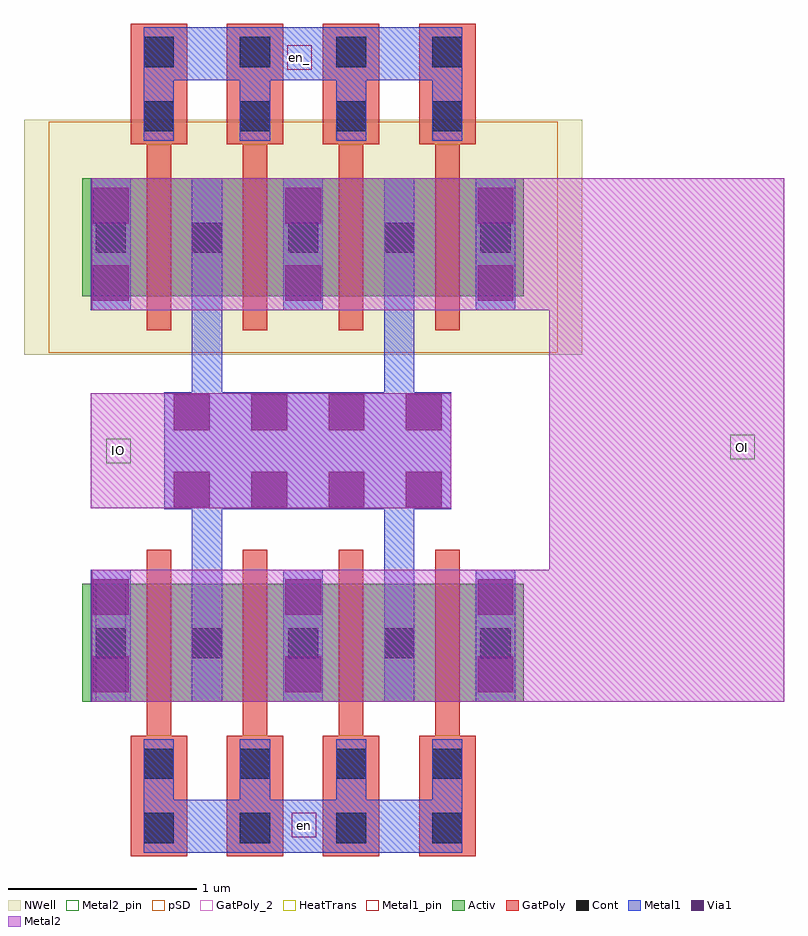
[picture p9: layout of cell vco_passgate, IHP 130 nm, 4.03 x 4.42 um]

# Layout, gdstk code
import gdstk
lib = gdstk.Library(unit=1e-6, precision=1e-09)
def R(c, l, rs):  # rectangles x0, y0, x1, y1
    for r in rs: c.add(gdstk.rectangle(r[:2], r[2:], *l))
def A(c, l, x, y, w, h, nx, ny, dx, dy):  # array of equal rectangles
    R(c, l, [(x+i*dx, y+j*dy, x+i*dx+w, y+j*dy+h) for i in range(nx) for j in range(ny)])
Activ = (1, 0)
GatPoly = (5, 0)
GatPoly_2 = (5, 2)
Cont = (6, 0)
Metal1 = (8, 0)
Metal1_pin = (8, 2)
Metal2 = (10, 0)
Metal2_pin = (10, 2)
pSD = (14, 0)
Via1 = (19, 0)
NWell = (31, 0)
HeatTrans = (51, 0)

pmos_12 = lib.new_cell('pmos$12')
A(pmos_12, Activ, 0, 0, 0.3, 0.3, 5, 1, 0.51, 0)
R(pmos_12, Activ, [(0,0,2.34,0.625)])
A(pmos_12, GatPoly, 0.34, -0.18, 0.13, 0.985, 4, 1, 0.51, 0)
R(pmos_12, GatPoly, [(0.34,-0.18,0.47,0.805)])
A(pmos_12, Cont, 0.07, 0.23, 0.16, 0.16, 5, 1, 0.51, 0)
A(pmos_12, Metal1, 0.58, 0, 0.16, 0.625, 4, 1, 0.51, 0)
R(pmos_12, Metal1, [(0.07,0,0.23,0.625), (0.07,0,0.23,0.625), (0.58,0,0.74,0.625)])
R(pmos_12, pSD, [(-0.18,-0.3,2.52,0.925)])
R(pmos_12, NWell, [(-0.31,-0.31,2.65,0.935)])
A(pmos_12, HeatTrans, 0.34, -0.18, 0.13, 0.985, 4, 1, 0.51, 0)
pmos_12.add(gdstk.Label('pmos', (0.405,0.313), layer=63, texttype=0))
pmos_12.add(gdstk.Label('pmos', (0.405,0.313), layer=51, texttype=0))
pmos_12.add(gdstk.Label('pmos', (0.915,0.313), layer=51, texttype=0))
pmos_12.add(gdstk.Label('pmos', (1.425,0.313), layer=51, texttype=0))
pmos_12.add(gdstk.Label('pmos', (1.935,0.313), layer=51, texttype=0))

nmos_15 = lib.new_cell('nmos$15')
A(nmos_15, Activ, 0, 0, 0.3, 0.3, 5, 1, 0.51, 0)
R(nmos_15, Activ, [(0,0,2.34,0.625)])
A(nmos_15, GatPoly, 0.34, -0.18, 0.13, 0.985, 4, 1, 0.51, 0)
R(nmos_15, GatPoly_2, [(0.34,-0.18,0.47,0.805)])
A(nmos_15, Cont, 0.07, 0.23, 0.16, 0.16, 5, 1, 0.51, 0)
A(nmos_15, Metal1, 0.07, 0, 0.16, 0.625, 5, 1, 0.51, 0)
R(nmos_15, Metal1_pin, [(0.07,0,0.23,0.625), (0.58,0,0.74,0.625)])
A(nmos_15, HeatTrans, 0.34, -0.18, 0.13, 0.985, 4, 1, 0.51, 0)
nmos_15.add(gdstk.Label('nmos', (0.405,0.313), layer=63, texttype=0))
nmos_15.add(gdstk.Label('nmos', (0.405,0.313), layer=51, texttype=0))
nmos_15.add(gdstk.Label('nmos', (0.915,0.313), layer=51, texttype=0))
nmos_15.add(gdstk.Label('nmos', (1.425,0.313), layer=51, texttype=0))
nmos_15.add(gdstk.Label('nmos', (1.935,0.313), layer=51, texttype=0))

via_30 = lib.new_cell('Via$30')
R(via_30, GatPoly, [(-0.15,-0.32,0.15,0.32)])
R(via_30, Cont, [(-0.08,-0.25,0.08,-0.09), (-0.08,0.09,0.08,0.25)])
R(via_30, Metal1, [(-0.08,-0.3,0.08,0.3)])

via_1 = lib.new_cell('Via$1')
R(via_1, Metal1, [(-0.76,-0.31,0.76,0.31)])
R(via_1, Metal2, [(-0.76,-0.305,0.76,0.305)])
A(via_1, Via1, -0.71, -0.3, 0.19, 0.19, 4, 2, 0.41, 0.41)

via_3_2 = lib.new_cell('Via$3$2')
R(via_3_2, Metal1, [(-0.105,-0.35,0.105,0.35)])
R(via_3_2, Metal2, [(-0.1,-0.35,0.1,0.35)])
R(via_3_2, Via1, [(-0.095,-0.3,0.095,-0.11), (-0.095,0.11,0.095,0.3)])

vco_passgate = lib.new_cell('vco_passgate')
R(vco_passgate, Metal1, [(-0.295,-2.165,1.395,-1.885), (0.98,-1.065,1.14,0.93), (-0.04,-0.945,0.12,0.87), (-0.295,1.93,1.395,2.21)])
R(vco_passgate, Metal1_pin, [(0.49,-2.085,0.62,-1.955), (0.465,1.985,0.595,2.115)])
R(vco_passgate, Metal2, [(-0.57,-1.365,2.67,-0.665), (1.855,-1.365,3.1,1.41), (-0.575,-0.34,1.335,0.27), (-0.57,0.71,2.675,1.41)])
R(vco_passgate, Metal2_pin, [(-0.495,-0.1,-0.365,0.03), (2.815,-0.08,2.945,0.05)])
vco_passgate.add(gdstk.Reference(pmos_12, (-0.62,0.785)))
vco_passgate.add(gdstk.Reference(nmos_15, (-0.62,-1.365)))
vco_passgate.add(gdstk.Reference(via_30, (-0.215,1.91)))
vco_passgate.add(gdstk.Reference(via_30, (0.295,1.91)))
vco_passgate.add(gdstk.Reference(via_30, (0.805,1.91)))
vco_passgate.add(gdstk.Reference(via_30, (1.315,1.91)))
vco_passgate.add(gdstk.Reference(via_30, (-0.215,-1.865)))
vco_passgate.add(gdstk.Reference(via_30, (0.295,-1.865)))
vco_passgate.add(gdstk.Reference(via_30, (0.805,-1.865)))
vco_passgate.add(gdstk.Reference(via_30, (1.315,-1.865)))
vco_passgate.add(gdstk.Reference(via_1, (0.575,-0.035)))
vco_passgate.add(gdstk.Reference(via_3_2, (-0.47,1.06)))
vco_passgate.add(gdstk.Reference(via_3_2, (0.55,1.06)))
vco_passgate.add(gdstk.Reference(via_3_2, (1.57,1.06)))
vco_passgate.add(gdstk.Reference(via_3_2, (-0.47,-1.015)))
vco_passgate.add(gdstk.Reference(via_3_2, (0.55,-1.015)))
vco_passgate.add(gdstk.Reference(via_3_2, (1.57,-1.015)))
vco_passgate.add(gdstk.Label('IO', (-0.43,-0.035), layer=10, texttype=25))
vco_passgate.add(gdstk.Label('OI', (2.88,-0.015), layer=10, texttype=25))
vco_passgate.add(gdstk.Label('en', (0.555,-2.02), layer=8, texttype=25))
vco_passgate.add(gdstk.Label('en_', (0.53,2.05), layer=8, texttype=25))

lib.write_gds('vco_passgate.gds')
